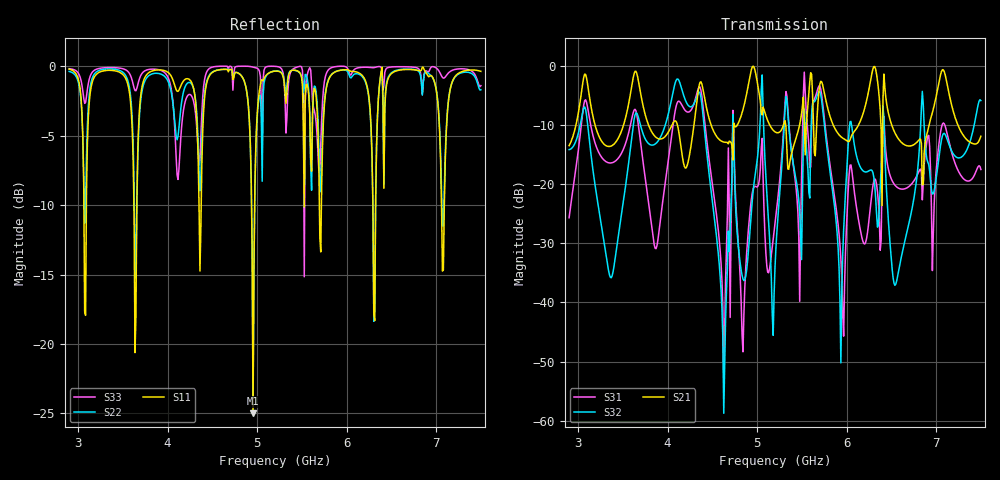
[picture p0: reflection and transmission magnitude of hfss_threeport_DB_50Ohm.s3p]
! Touchstone file from project Project1
! Exported from HFSS 2017.1.0
# GHZ S DB R 50.000000
! Modal data exported
! Port[1] = 1:1
! Port[2] = 2:1
! Port[3] = 3:1
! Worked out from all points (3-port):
!   451 points, 2.9 GHz to 7.5 GHz, reference 50 ohm
!   strongest paths, dB at 2.9 GHz, 4.045 GHz, 5.2 GHz, 6.355 GHz, 7.5 GHz:
!     S21: -13.5, -10.1, -11.2, -3.9, -11.9
!     S32: -14.2, -5.6, -34.1, -26.8, -5.9
!     S31: -25.7, -11.8, -26.7, -23.1, -17.5
!   lowest |S11| = -25.0 dB at 4.955 GHz (marker M1), VSWR 1.12, Z = 44.9 - j1.68 ohm
!   |S11| at or under -10 dB: 3.624 GHz to 3.656 GHz (32.05 MHz wide, 0.881 % of centre); 4.938 GHz to 4.973 GHz (34.94 MHz wide, 0.705 % of centre); 7.060103 GHz to 7.091471 GHz (31.37 MHz wide, 0.443 % of centre)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
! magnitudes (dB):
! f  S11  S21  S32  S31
! 2.9 GHz  -0.2  -13.5  -14.2  -25.7
! 4.352 GHz  -10.1  -3.4  -4.4  -3.5
! 4.628 GHz  -0.2  -12.9  -58.7  -53.3
! 4.955 GHz  -25.0  0.0  -21.4  -20.9
! 5.2 GHz  -0.4  -11.2  -34.1  -26.7
! 5.323 GHz  -2.7  -10.3  -5.2  -4.3
! 5.936 GHz  -0.3  -12.0  -50.2  -32.7
! 6.048 GHz  -0.4  -12.1  -9.4  -16.7
! 6.549 GHz  -0.4  -11.6  -36.9  -20.3
! 7.5 GHz  -0.4  -11.9  -5.9  -17.5
